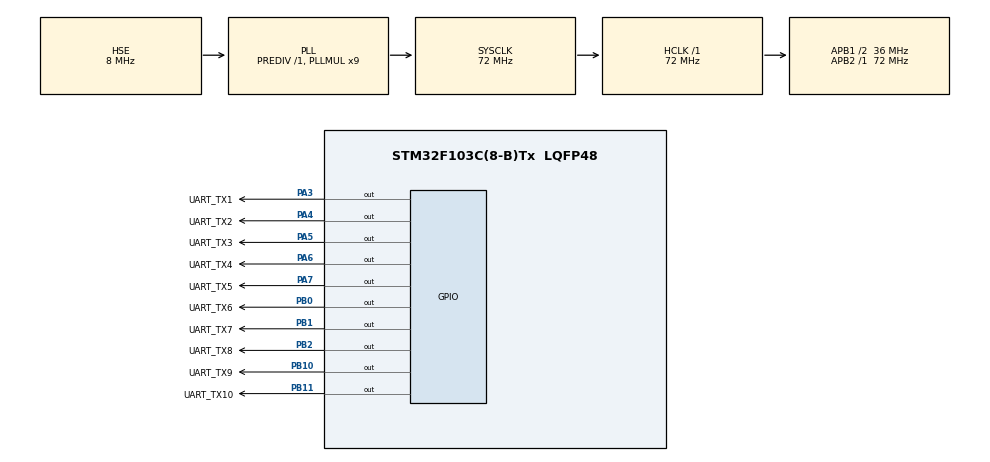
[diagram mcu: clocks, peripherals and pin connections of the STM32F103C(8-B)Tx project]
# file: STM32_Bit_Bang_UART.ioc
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Mcu.Family=STM32F1
Mcu.Name=STM32F103C(8-B)Tx
Mcu.Package=LQFP48
NVIC.PriorityGroup=NVIC_PRIORITYGROUP_4
NVIC.TIM4_IRQn=true\:0\:0\:false\:false\:true\:true\:true
PA13.Mode=Serial_Wire
PA13.Signal=SYS_JTMS-SWDIO
PA14.Mode=Serial_Wire
PA14.Signal=SYS_JTCK-SWCLK
PA3.GPIO_Label=UART_TX1
PA3.PinState=GPIO_PIN_SET
PA3.Signal=GPIO_Output
PA4.GPIO_Label=UART_TX2
PA4.PinState=GPIO_PIN_SET
PA4.Signal=GPIO_Output
PA5.GPIO_Label=UART_TX3
PA5.PinState=GPIO_PIN_SET
PA5.Signal=GPIO_Output
PA6.GPIO_Label=UART_TX4
PA6.PinState=GPIO_PIN_SET
PA6.Signal=GPIO_Output
PA7.GPIO_Label=UART_TX5
PA7.PinState=GPIO_PIN_SET
PA7.Signal=GPIO_Output
PB0.GPIO_Label=UART_TX6
PB0.PinState=GPIO_PIN_SET
PB0.Signal=GPIO_Output
PB1.GPIO_Label=UART_TX7
PB1.PinState=GPIO_PIN_SET
PB1.Signal=GPIO_Output
PB10.GPIO_Label=UART_TX9
PB10.PinState=GPIO_PIN_SET
PB10.Signal=GPIO_Output
PB11.GPIO_Label=UART_TX10
PB11.PinState=GPIO_PIN_SET
PB11.Signal=GPIO_Output
PB2.GPIO_Label=UART_TX8
PB2.PinState=GPIO_PIN_SET
PB2.Signal=GPIO_Output
PD0-OSC_IN.Mode=HSE-External-Oscillator
PD0-OSC_IN.Signal=RCC_OSC_IN
PD1-OSC_OUT.Mode=HSE-External-Oscillator
PD1-OSC_OUT.Signal=RCC_OSC_OUT
ProjectManager.HeapSize=0x200
ProjectManager.StackSize=0x400
ProjectManager.TargetToolchain=STM32CubeIDE
RCC.AHBFreq_Value=72000000
RCC.APB1CLKDivider=RCC_HCLK_DIV2
RCC.APB1Freq_Value=36000000
RCC.APB1TimFreq_Value=72000000
RCC.APB2Freq_Value=72000000
RCC.APB2TimFreq_Value=72000000
RCC.HCLKFreq_Value=72000000
RCC.PLLMUL=RCC_PLL_MUL9
RCC.PLLSourceVirtual=RCC_PLLSOURCE_HSE
RCC.SYSCLKFreq_VALUE=72000000
RCC.SYSCLKSource=RCC_SYSCLKSOURCE_PLLCLK
RCC.USBFreq_Value=72000000
TIM4.Period=(104-1)
TIM4.Prescaler=(72-1)
VP_TIM4_VS_ClockSourceINT.Mode=Internal
board=custom

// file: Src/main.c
/* USER CODE BEGIN Header */
/**
  ******************************************************************************
  * @file           : main.c
  * @brief          : Main program body
  ******************************************************************************
  * @attention
  *
  * <h2><center>&copy; Copyright (c) 2019 STMicroelectronics.
  * All rights reserved.</center></h2>
  *
  * This software component is licensed by ST under BSD 3-Clause license,
  * the "License"; You may not use this file except in compliance with the
  * License. You may obtain a copy of the License at:
  *                        opensource.org/licenses/BSD-3-Clause
  *
  ******************************************************************************
  */
/* USER CODE END Header */

#include "main.h"
#include "tim.h"
#include "gpio.h"

/* USER CODE BEGIN Includes */
#include "soft_uart.h"
/* USER CODE END Includes */

/* USER CODE BEGIN PV */
Soft_Uart_TX_t UART1;
char UART1_TX_Buffer[32];
char UART1_RX_Buffer[32];

Soft_Uart_TX_t UART2;
char UART2_TX_Buffer[32];
char UART2_RX_Buffer[32];

Soft_Uart_TX_t UART3;
char UART3_TX_Buffer[32];
char UART3_RX_Buffer[32];

Soft_Uart_TX_t UART4;
char UART4_TX_Buffer[32];
char UART4_RX_Buffer[32];

Soft_Uart_TX_t UART5;
char UART5_TX_Buffer[32];
char UART5_RX_Buffer[32];

Soft_Uart_TX_t UART6;
char UART6_TX_Buffer[32];
char UART6_RX_Buffer[32];

Soft_Uart_TX_t UART7;
char UART7_TX_Buffer[32];
char UART7_RX_Buffer[32];

Soft_Uart_TX_t UART8;
char UART8_TX_Buffer[32];
char UART8_RX_Buffer[32];

Soft_Uart_TX_t UART9;
char UART9_TX_Buffer[32];
char UART9_RX_Buffer[32];

Soft_Uart_TX_t UART10;
char UART10_TX_Buffer[32];
char UART10_RX_Buffer[32];

/* USER CODE END PV */

void SystemClock_Config(void);

int main(void)
{

  /* MCU Configuration--------------------------------------------------------*/

  /* Reset of all peripherals, Initializes the Flash interface and the Systick. */
  HAL_Init();

  /* Configure the system clock */
  SystemClock_Config();

  /* Initialize all configured peripherals */
  MX_GPIO_Init();
  MX_TIM4_Init();
  /* USER CODE BEGIN 2 */
  UART1.GPIO_TX_Pin           = UART_TX1_Pin;
  UART1.GPIO_TX_Port          = UART_TX1_GPIO_Port;
  UART1.TX_Ring_Buffer.Buffer = UART1_TX_Buffer;
  UART1.TX_Ring_Buffer.Size   = sizeof(UART1_TX_Buffer);

  UART2.GPIO_TX_Pin           = UART_TX2_Pin;
  UART2.GPIO_TX_Port          = UART_TX2_GPIO_Port;
  UART2.TX_Ring_Buffer.Buffer = UART2_TX_Buffer;
  UART2.TX_Ring_Buffer.Size   = sizeof(UART2_TX_Buffer);

  UART3.GPIO_TX_Pin           = UART_TX3_Pin;
  UART3.GPIO_TX_Port          = UART_TX3_GPIO_Port;
  UART3.TX_Ring_Buffer.Buffer = UART3_TX_Buffer;
  UART3.TX_Ring_Buffer.Size   = sizeof(UART3_TX_Buffer);

  UART4.GPIO_TX_Pin           = UART_TX4_Pin;
  UART4.GPIO_TX_Port          = UART_TX4_GPIO_Port;
  UART4.TX_Ring_Buffer.Buffer = UART4_TX_Buffer;
  UART4.TX_Ring_Buffer.Size   = sizeof(UART4_TX_Buffer);

  UART5.GPIO_TX_Pin           = UART_TX5_Pin;
  UART5.GPIO_TX_Port          = UART_TX5_GPIO_Port;
  UART5.TX_Ring_Buffer.Buffer = UART5_TX_Buffer;
  UART5.TX_Ring_Buffer.Size   = sizeof(UART5_TX_Buffer);

  UART6.GPIO_TX_Pin           = UART_TX6_Pin;
  UART6.GPIO_TX_Port          = UART_TX6_GPIO_Port;
  UART6.TX_Ring_Buffer.Buffer = UART6_TX_Buffer;
  UART6.TX_Ring_Buffer.Size   = sizeof(UART6_TX_Buffer);

  UART7.GPIO_TX_Pin           = UART_TX7_Pin;
  UART7.GPIO_TX_Port          = UART_TX7_GPIO_Port;
  UART7.TX_Ring_Buffer.Buffer = UART7_TX_Buffer;
  UART7.TX_Ring_Buffer.Size   = sizeof(UART7_TX_Buffer);

  UART8.GPIO_TX_Pin           = UART_TX8_Pin;
  UART8.GPIO_TX_Port          = UART_TX8_GPIO_Port;
  UART8.TX_Ring_Buffer.Buffer = UART8_TX_Buffer;
  UART8.TX_Ring_Buffer.Size   = sizeof(UART8_TX_Buffer);

  UART9.GPIO_TX_Pin           = UART_TX9_Pin;
  UART9.GPIO_TX_Port          = UART_TX9_GPIO_Port;
  UART9.TX_Ring_Buffer.Buffer = UART9_TX_Buffer;
  UART9.TX_Ring_Buffer.Size   = sizeof(UART9_TX_Buffer);

  UART10.GPIO_TX_Pin           = UART_TX10_Pin;
  UART10.GPIO_TX_Port          = UART_TX10_GPIO_Port;
  UART10.TX_Ring_Buffer.Buffer = UART10_TX_Buffer;
  UART10.TX_Ring_Buffer.Size   = sizeof(UART10_TX_Buffer);

  Soft_Uart_TX_Add(&UART1);
  Soft_Uart_TX_Add(&UART2);
  Soft_Uart_TX_Add(&UART3);
  Soft_Uart_TX_Add(&UART4);
  Soft_Uart_TX_Add(&UART5);
  Soft_Uart_TX_Add(&UART6);
  Soft_Uart_TX_Add(&UART7);
  Soft_Uart_TX_Add(&UART8);
  Soft_Uart_TX_Add(&UART9);
  Soft_Uart_TX_Add(&UART10);

  /* USER CODE END 2 */

  /* Infinite loop */
  while (1)
  {

    /* USER CODE BEGIN 3 */

      Soft_Uart_Send_String(&UART1, "Hello World! from UART1\r\n");
      //HAL_Delay(1);
      Soft_Uart_Send_String(&UART2, "Hello World! from UART2\r\n");
      //HAL_Delay(1);
      Soft_Uart_Send_String(&UART3, "Hello World! from UART3\r\n");
      //HAL_Delay(1);
      Soft_Uart_Send_String(&UART4, "Hello World! from UART4\r\n");
      //HAL_Delay(1);
      Soft_Uart_Send_String(&UART5, "Hello World! from UART5\r\n");
      //HAL_Delay(1);
      Soft_Uart_Send_String(&UART6, "Hello World! from UART6\r\n");
      //HAL_Delay(1);
      Soft_Uart_Send_String(&UART7, "Hello World! from UART7\r\n");
      //HAL_Delay(1);
      Soft_Uart_Send_String(&UART8, "Hello World! from UART8\r\n");
      //HAL_Delay(1);
      Soft_Uart_Send_String(&UART9, "Hello World! from UART9\r\n");
      //HAL_Delay(1);
      Soft_Uart_Send_String(&UART10, "Hello World! from UART10\r\n");

    /* wait for transmission to complete*/
      while(!Soft_Uart_Get_TC_Flag(&UART10))
          {
          }

      Soft_Uart_Clear_TC_Flag(&UART1);
      Soft_Uart_Clear_TC_Flag(&UART2);
      Soft_Uart_Clear_TC_Flag(&UART3);
      Soft_Uart_Clear_TC_Flag(&UART4);
      Soft_Uart_Clear_TC_Flag(&UART5);
      Soft_Uart_Clear_TC_Flag(&UART6);
      Soft_Uart_Clear_TC_Flag(&UART7);
      Soft_Uart_Clear_TC_Flag(&UART8);
      Soft_Uart_Clear_TC_Flag(&UART9);
      Soft_Uart_Clear_TC_Flag(&UART10);

  }

  /* USER CODE END 3 */
}

void SystemClock_Config(void)
{
  RCC_OscInitTypeDef RCC_OscInitStruct = {0};
  RCC_ClkInitTypeDef RCC_ClkInitStruct = {0};

  /** Initializes the CPU, AHB and APB busses clocks
  */
  RCC_OscInitStruct.OscillatorType = RCC_OSCILLATORTYPE_HSE;
  RCC_OscInitStruct.HSEState = RCC_HSE_ON;
  RCC_OscInitStruct.HSEPredivValue = RCC_HSE_PREDIV_DIV1;
  RCC_OscInitStruct.HSIState = RCC_HSI_ON;
  RCC_OscInitStruct.PLL.PLLState = RCC_PLL_ON;
  RCC_OscInitStruct.PLL.PLLSource = RCC_PLLSOURCE_HSE;
  RCC_OscInitStruct.PLL.PLLMUL = RCC_PLL_MUL9;
  if (HAL_RCC_OscConfig(&RCC_OscInitStruct) != HAL_OK)
  {
    Error_Handler();
  }
  /** Initializes the CPU, AHB and APB busses clocks
  */
  RCC_ClkInitStruct.ClockType = RCC_CLOCKTYPE_HCLK|RCC_CLOCKTYPE_SYSCLK
                              |RCC_CLOCKTYPE_PCLK1|RCC_CLOCKTYPE_PCLK2;
  RCC_ClkInitStruct.SYSCLKSource = RCC_SYSCLKSOURCE_PLLCLK;
  RCC_ClkInitStruct.AHBCLKDivider = RCC_SYSCLK_DIV1;
  RCC_ClkInitStruct.APB1CLKDivider = RCC_HCLK_DIV2;
  RCC_ClkInitStruct.APB2CLKDivider = RCC_HCLK_DIV1;

  if (HAL_RCC_ClockConfig(&RCC_ClkInitStruct, FLASH_LATENCY_2) != HAL_OK)
  {
    Error_Handler();
  }
}

void Error_Handler(void)
{
}

/************************ (C) COPYRIGHT STMicroelectronics *****END OF FILE****/
